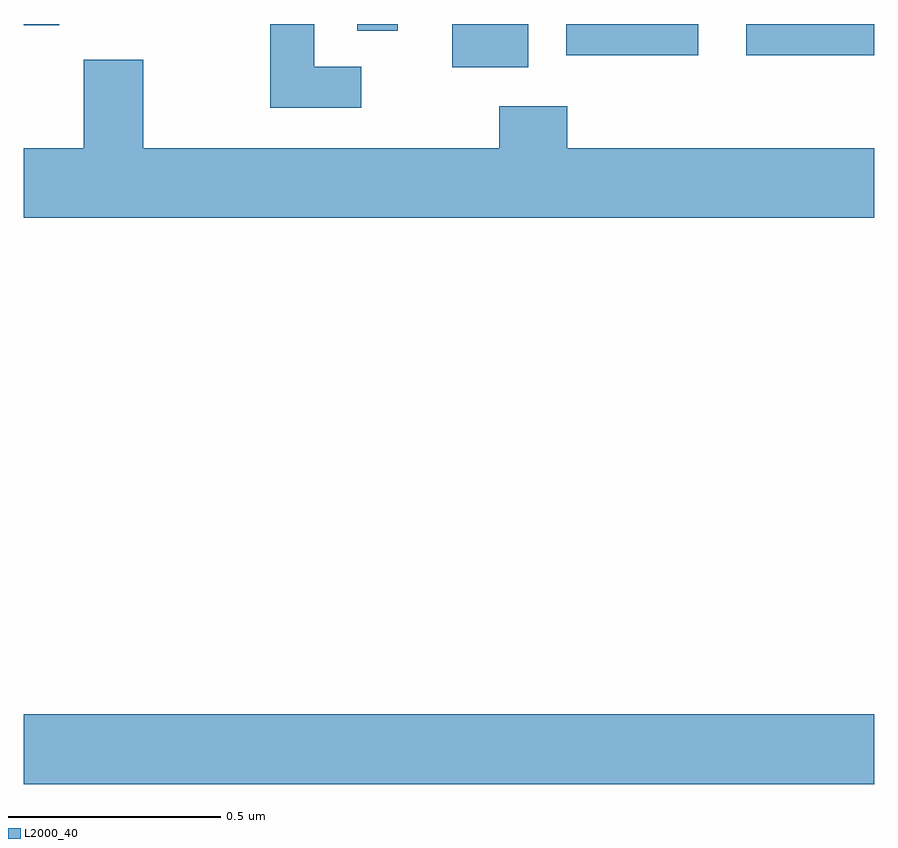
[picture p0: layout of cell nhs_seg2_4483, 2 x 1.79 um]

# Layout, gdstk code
import gdstk
lib = gdstk.Library(unit=1e-6, precision=1e-09)
def R(c, l, rs):  # rectangles x0, y0, x1, y1
    for r in rs: c.add(gdstk.rectangle(r[:2], r[2:], *l))
def P(c, l, *ps):  # polygons
    for p in ps: c.add(gdstk.Polygon(p, *l))
L2000_40 = (2000, 40)

nhs_seg2_4483 = lib.new_cell('nhs_seg2_4483')
R(nhs_seg2_4483, L2000_40, [(167,605.012,169,605.176), (168.008,606.698,168.187,606.8), (168.276,606.727,168.586,606.8), (168.699,606.727,169,606.8), (167.784,606.784,167.88,606.8), (167,606.797,167.083,606.8)])
P(nhs_seg2_4483, L2000_40, [(167.794,606.699),(167.683,606.699),(167.683,606.8),(167.579,606.8),(167.579,606.603),(167.794,606.603)],
  [(169,606.508),(168.278,606.508),(168.278,606.607),(168.118,606.607),(168.118,606.508),(167.281,606.508),(167.281,606.716),(167.141,606.716),(167.141,606.508),(167,606.508),(167,606.344),(169,606.344)])

lib.write_gds('nhs_seg2_4483.gds')
